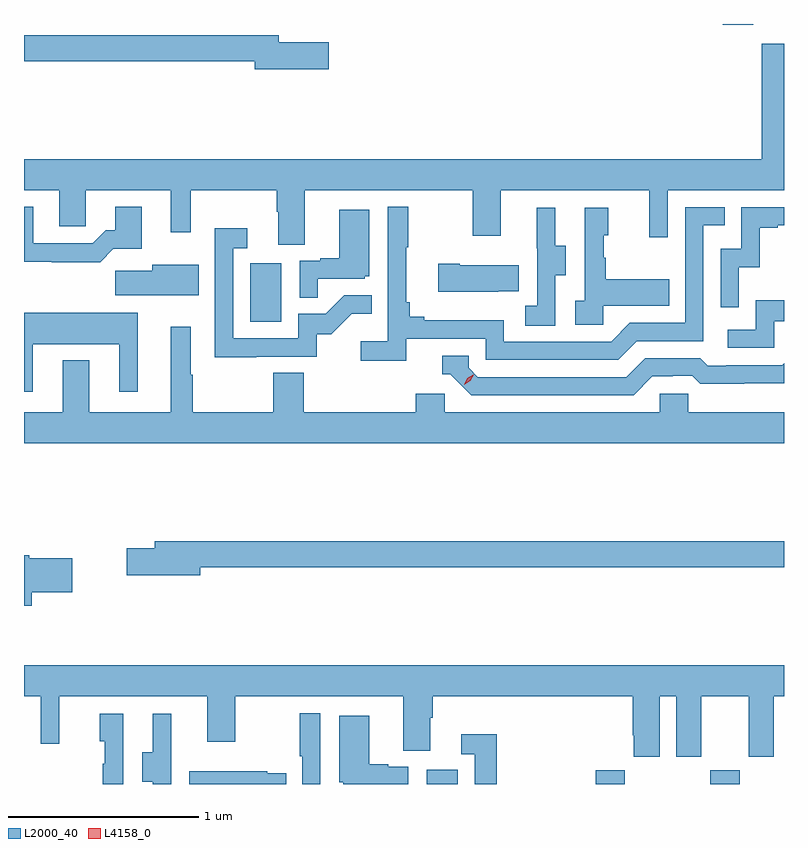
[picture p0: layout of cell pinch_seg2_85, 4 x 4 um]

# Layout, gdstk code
import gdstk
lib = gdstk.Library(unit=1e-6, precision=1e-09)
def R(c, l, rs):  # rectangles x0, y0, x1, y1
    for r in rs: c.add(gdstk.rectangle(r[:2], r[2:], *l))
def P(c, l, *ps):  # polygons
    for p in ps: c.add(gdstk.Polygon(p, *l))
L2000_40 = (2000, 40)
L4158_0 = (4158, 0)

pinch_seg2_85 = lib.new_cell('pinch_seg2_85')
R(pinch_seg2_85, L2000_40, [(1070.012,656.499,1070.176,656.575), (1070.9,656.499,1071.055,656.572), (1071.505,656.499,1071.66,656.572), (1069.082,658.932,1069.246,659.239), (1071.569,660.495,1071.729,660.499)])
P(pinch_seg2_85, L2000_40, [(1069.495,660.404),(1069.234,660.404),(1069.234,660.44),(1067.892,660.44),(1067.892,660.304),(1069.106,660.304),(1069.106,660.262),(1069.495,660.262)],
  [(1069.369,659.624),(1070.254,659.624),(1070.254,659.385),(1070.401,659.385),(1070.401,659.624),(1071.182,659.624),(1071.182,659.376),(1071.279,659.376),(1071.279,659.624),(1071.892,659.624),(1071.892,660.394),(1071.776,660.394),(1071.776,659.788),(1067.892,659.788),(1067.892,659.624),(1068.077,659.624),(1068.077,659.434),(1068.216,659.434),(1068.216,659.624),(1068.665,659.624),(1068.665,659.403),(1068.769,659.403),(1068.769,659.624),(1069.222,659.624),(1069.222,659.512),(1069.229,659.512),(1069.229,659.338),(1069.369,659.338)],
  [(1068.362,659.315),(1068.511,659.315),(1068.511,659.536),(1068.371,659.536),(1068.371,659.413),(1068.322,659.413),(1068.255,659.346),(1067.941,659.346),(1067.941,659.536),(1067.892,659.536),(1067.892,659.248),(1068.037,659.248),(1068.037,659.246),(1068.293,659.246)],
  [(1069.904,658.842),(1070.322,658.842),(1070.322,658.731),(1071.019,658.731),(1071.118,658.83),(1071.468,658.83),(1071.468,659.439),(1071.581,659.439),(1071.581,659.535),(1071.372,659.535),(1071.372,658.926),(1071.081,658.926),(1070.982,658.827),(1070.418,658.827),(1070.418,658.939),(1069.999,658.939),(1069.999,658.958),(1069.922,658.958),(1069.922,659.035),(1069.903,659.035),(1069.903,659.323),(1069.915,659.323),(1069.915,659.536),(1069.806,659.536),(1069.806,658.828),(1069.665,658.828),(1069.665,658.726),(1069.904,658.726)],
  [(1071.654,659.219),(1071.764,659.219),(1071.764,659.427),(1071.859,659.427),(1071.859,659.439),(1071.892,659.439),(1071.892,659.535),(1071.666,659.535),(1071.666,659.316),(1071.558,659.316),(1071.558,659.007),(1071.654,659.007)],
  [(1070.94,659.015),(1071.287,659.015),(1071.287,659.155),(1070.953,659.155),(1070.953,659.27),(1070.943,659.27),(1070.943,659.388),(1070.968,659.388),(1070.968,659.533),(1070.844,659.533),(1070.844,659.042),(1070.793,659.042),(1070.793,658.917),(1070.94,658.917)],
  [(1070.688,659.176),(1070.743,659.176),(1070.743,659.331),(1070.689,659.331),(1070.689,659.533),(1070.591,659.533),(1070.591,659.319),(1070.592,659.319),(1070.592,659.015),(1070.529,659.015),(1070.529,658.912),(1070.688,658.912)],
  [(1069.439,659.157),(1069.686,659.157),(1069.686,659.172),(1069.708,659.172),(1069.708,659.521),(1069.55,659.521),(1069.55,659.266),(1069.451,659.266),(1069.451,659.253),(1069.344,659.253),(1069.344,659.059),(1069.439,659.059)],
  [(1069.115,658.749),(1069.434,658.749),(1069.434,658.866),(1069.51,658.866),(1069.617,658.973),(1069.721,658.973),(1069.721,659.072),(1069.577,659.072),(1069.479,658.974),(1069.335,658.974),(1069.335,658.845),(1068.993,658.845),(1068.993,659.319),(1069.066,659.319),(1069.066,659.425),(1068.897,659.425),(1068.897,658.744),(1069.115,658.744)],
  [(1070.387,659.093),(1070.495,659.093),(1070.495,659.23),(1070.185,659.23),(1070.185,659.238),(1070.073,659.238),(1070.073,659.09),(1070.387,659.09)],
  [(1068.811,659.233),(1068.566,659.233),(1068.566,659.201),(1068.372,659.201),(1068.372,659.072),(1068.811,659.072)],
  [(1071.84,658.935),(1071.892,658.935),(1071.892,659.044),(1071.744,659.044),(1071.744,658.89),(1071.597,658.89),(1071.597,658.794),(1071.84,658.794)],
  [(1067.938,658.814),(1068.392,658.814),(1068.392,658.563),(1068.49,658.563),(1068.49,658.978),(1067.892,658.978),(1067.892,658.563),(1067.938,658.563)],
  [(1071.892,658.456),(1071.387,658.456),(1071.387,658.554),(1071.237,658.554),(1071.237,658.456),(1070.106,658.456),(1070.106,658.554),(1069.955,658.554),(1069.955,658.456),(1069.364,658.456),(1069.364,658.664),(1069.204,658.664),(1069.204,658.456),(1068.779,658.456),(1068.779,658.652),(1068.769,658.652),(1068.769,658.906),(1068.665,658.906),(1068.665,658.456),(1068.235,658.456),(1068.235,658.729),(1068.095,658.729),(1068.095,658.456),(1067.892,658.456),(1067.892,658.292),(1071.892,658.292)],
  [(1071.199,658.644),(1071.306,658.644),(1071.306,658.647),(1071.409,658.647),(1071.451,658.605),(1071.684,658.605),(1071.684,658.607),(1071.892,658.607),(1071.892,658.714),(1071.882,658.704),(1071.589,658.704),(1071.589,658.701),(1071.49,658.701),(1071.451,658.74),(1071.162,658.74),(1071.063,658.641),(1070.28,658.641),(1070.232,658.689),(1070.232,658.752),(1070.093,658.752),(1070.093,658.656),(1070.136,658.656),(1070.247,658.545),(1071.1,658.545)],
  [(1068.82,657.64),(1071.892,657.64),(1071.892,657.776),(1068.581,657.776),(1068.581,657.74),(1068.432,657.74),(1068.432,657.598),(1068.82,657.598)],
  [(1067.933,657.508),(1068.145,657.508),(1068.145,657.686),(1067.92,657.686),(1067.92,657.703),(1067.892,657.703),(1067.892,657.437),(1067.933,657.437)],
  [(1071.238,656.96),(1071.326,656.96),(1071.326,656.643),(1071.457,656.643),(1071.457,656.96),(1071.707,656.96),(1071.707,656.643),(1071.838,656.643),(1071.838,656.96),(1071.892,656.96),(1071.892,657.124),(1067.892,657.124),(1067.892,656.96),(1067.979,656.96),(1067.979,656.712),(1068.077,656.712),(1068.077,656.96),(1068.857,656.96),(1068.857,656.721),(1069.005,656.721),(1069.005,656.96),(1069.889,656.96),(1069.889,656.674),(1070.029,656.674),(1070.029,656.848),(1070.042,656.848),(1070.042,656.96),(1071.095,656.96),(1071.095,656.755),(1071.101,656.755),(1071.101,656.643),(1071.238,656.643)],
  [(1069.452,656.872),(1069.344,656.872),(1069.344,656.644),(1069.356,656.644),(1069.356,656.499),(1069.452,656.499)],
  [(1068.666,656.655),(1068.668,656.655),(1068.668,656.869),(1068.569,656.869),(1068.569,656.667),(1068.515,656.667),(1068.515,656.512),(1068.57,656.512),(1068.57,656.499),(1068.666,656.499)],
  [(1068.414,656.869),(1068.29,656.869),(1068.29,656.724),(1068.316,656.724),(1068.316,656.606),(1068.306,656.606),(1068.306,656.499),(1068.414,656.499)],
  [(1069.914,656.589),(1069.808,656.589),(1069.808,656.602),(1069.708,656.602),(1069.708,656.857),(1069.55,656.857),(1069.55,656.508),(1069.572,656.508),(1069.572,656.499),(1069.914,656.499)],
  [(1070.381,656.761),(1070.193,656.761),(1070.193,656.655),(1070.265,656.655),(1070.265,656.499),(1070.381,656.499)],
  [(1069.271,656.556),(1069.173,656.556),(1069.173,656.566),(1068.763,656.566),(1068.763,656.499),(1069.271,656.499)])
P(pinch_seg2_85, L4158_0, [(1070.21,658.601),(1070.21,658.602),(1070.226,658.634),(1070.257,658.654),(1070.258,658.654),(1070.258,658.654),(1070.241,658.621),(1070.21,658.601)])

lib.write_gds('pinch_seg2_85.gds')
